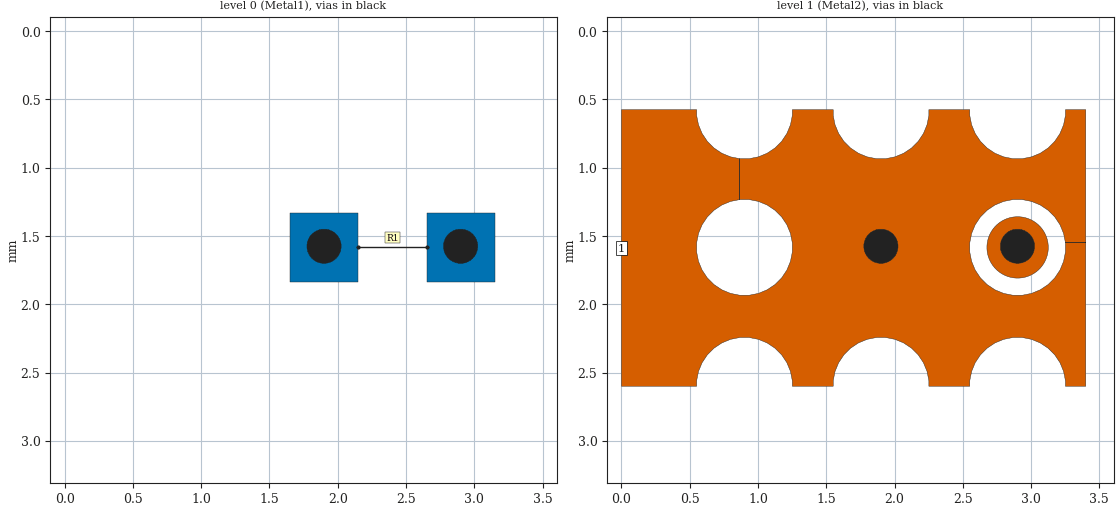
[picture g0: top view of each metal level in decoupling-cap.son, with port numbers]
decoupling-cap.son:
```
FTYP SONPROJ 17 ! Sonnet Project File
VER 17.52.2
HEADER
LIC antikernel2.1.48685 90e2ba8817c0 havequick azonenberg
DAT 07/22/2020 09:39:21
BUILT_BY_CREATED xgeom 16.56 07/03/2018 15:05:41
BUILT_BY_SAVED sonnet 17.52.2
MDATE 07/22/2020 09:39:21
HDATE 07/22/2020 09:39:21
ANN Created by dxfgeo, Sonnet Software Inc.
END HEADER
DIM
ANG DEG
CAP PF
CON /OH
FREQ GHZ
IND NH
LNG MM
RES OH
END DIM
CONTROL
VARSWP
OPTIONS  -dj
SPEED 1
CACHE_ABS 1
Q_ACC N
END CONTROL
GEO
TMET "Free Space" 0 FREESPACE 376.7303136 0 0 0
BMET "Copper 1oz" 1 NOR 58000000 0.5 35 
MET "Copper 1oz" 1 NOR 58000000 0.5 35 
BRI "Alumina (96%)" 0 9.4 0.0004 0 
BRI "Alumina (99.5%)" 0 9.9 0.0001 0 
BRI "Aluminum Nitride" 0 8.6 0.0003 0 
BRI "Arlon 25FR" 0 3.58 0.0035 0 
BRI "Arlon 25N" 0 3.38 0.0025 0 
BRI "Arlon AD5" 0 5.1 0.003 0 
BRI "Arlon AD10" 0 10.2 0.005 0 
BRI "Arlon AD250" 0 2.5 0.0018 0 
BRI "Arlon AD255A" 0 2.55 0.0015 0 
BRI "Arlon AD260A" 0 2.6 0.0018 0 
BRI "Arlon AD270" 0 2.7 0.0023 0 
BRI "Arlon AD300A" 0 3 0.002 0 
BRI "Arlon AD320A" 0 3.2 0.0032 0 
BRI "Arlon AD350A" 0 3.5 0.003 0 
BRI "Arlon AD410" 0 4.1 0.003 0 
BRI "Arlon AD430" 0 4.3 0.003 0 
BRI "Arlon AD450" 0 4.5 0.0035 0 
BRI "Arlon AD600" 0 6.15 0.003 0 
BRI "Arlon AD1000" 0 10.2 0.0023 0 
BRI "Arlon AR1000" 0 9.8 0.003 0 
BRI "Arlon CLTE" 0 2.96 0.0023 0 
BRI "Arlon CLTE-AT" 0 3 0.0013 0 
BRI "Arlon CLTE-P" 0 2.94 0.0025 0 
BRI "Arlon CLTE-XT" 0 2.94 0.0012 0 
BRI "Arlon Cu 217LX" 0 2.17 0.0009 0 
BRI "Arlon Cu 233LX" 0 2.33 0.0013 0 
BRI "Arlon Cu 250GT" 0 2.5 0.001 0 
BRI "Arlon Cu 250GX" 0 2.5 0.0018 0 
BRI "Arlon Cu 6250" 0 2.32 0.0013 0 
BRI "Arlon Cu 6700" 0 2.35 0.0025 0 
BRI "Arlon Di 522" 0 2.5 0.001 0 
BRI "Arlon Di 527" 0 2.5 0.0018 0 
BRI "Arlon Di 870" 0 2.33 0.0013 0 
BRI "Arlon Di 880" 0 2.17 0.0009 0 
BRI "Arlon Iso 917" 0 2.17 0.0013 0 
BRI "Arlon Iso 933" 0 2.33 0.0016 0 
BRI "Arlon Multi HF" 0 3.7 0.004 0 
BRI "Arlon TC350" 0 3.5 0.002 0 
BRI "Arlon TC600" 0 6.15 0.002 0 
BRI "Beryllia (99.5%)" 0 6.5 0.0004 0 
BRI "CEM-1" 0 4.5 0.02 0 
BRI "CEM-3" 0 4.5 0.02 0 
BRI "Dupont 9K7" 0 7.1 0.0012 0 
BRI "Dupont 943" 0 7.4 0.002 0 
BRI "Dupont 951" 0 7.8 0.006 0 
BRI "Dupont FEP" 0 2 0.0005 0 
BRI "Dupont Vacrel" 0 3.8 0.011 0 
BRI "ESL 41010" 0 7.5 0.005 0 
BRI "ESL 41020" 0 7.25 0.005 0 
BRI "ESL 41050" 0 13.5 0.002 0 
BRI "ESL 41060" 0 16.5 0.002 0 
BRI "ESL 41110" 0 4.5 0.004 0 
BRI "Ferro A6M" 0 5.9 0.002 0 
BRI "Ferro A6S" 0 5.9 0.002 0 
BRI "Ferro L8" 0 7.3 0.0018 0 
BRI "FR-4" 0 4.4 0.02 0 
BRI "G-10" 0 4.8 0.025 0 
BRI "Gallium Arsenide" 0 12.9 0.006 0 
BRI "Gallium Nitride" 0 9.7 0 0 
BRI "Glass (Pyrex)" 0 4.82 0.0054 0 
BRI "Heraeus HL2000" 0 7.3 0.0026 0 
BRI "Isola 370HR" 0 4.04 0.021 0 
BRI "Isola FR408" 0 3.77 0.0116 0 
BRI "Isola FR408HR" 0 3.68 0.0092 0 
BRI "Isola Getek" 0 3.6 0.01 0 
BRI "Isola GI-180" 0 3.7 0.013 0 
BRI "Isola IS415" 0 3.82 0.0125 0 
BRI "Isola IS620i" 0 3.58 0.006 0 
BRI "Isola IS680-280" 0 2.8 0.0025 0 
BRI "Isola IS680-300" 0 3 0.003 0 
BRI "Isola IS680-320" 0 3.2 0.003 0 
BRI "Isola IS680-333" 0 3.33 0.003 0 
BRI "Isola IS680-338" 0 3.38 0.0032 0 
BRI "Isola IS680-345" 0 3.45 0.0036 0 
BRI "Kerafol CT800" 0 5.3 0.008 0 
BRI "Nelco MW9350" 0 3.7 0.004 0 
BRI "Nelco N4000-12" 0 3.7 0.008 0 
BRI "Nelco N4000-13" 0 3.7 0.009 0 
BRI "Nelco N4000-13SI" 0 3.2 0.007 0 
BRI "Nelco N4000-13EP" 0 3.7 0.008 0 
BRI "Nelco N4350-13RF" 0 3.5 0.0065 0 
BRI "Nelco N4380-13RF" 0 3.8 0.007 0 
BRI "Nelco N9300-13RF" 0 3 0.004 0 
BRI "Nelco N9320-13RF" 0 3.2 0.0045 0 
BRI "Nelco N9338-13RF" 0 3.38 0.0046 0 
BRI "Nelco N9350-13RF" 0 3.48 0.0055 0 
BRI "Nelco NH9294" 0 2.94 0.0022 0 
BRI "Nelco NH9300" 0 3 0.0023 0 
BRI "Nelco NH9320" 0 3.2 0.0024 0 
BRI "Nelco NH9338" 0 3.38 0.0025 0 
BRI "Nelco NH9348" 0 3.48 0.003 0 
BRI "Nelco NH9350" 0 3.5 0.003 0 
BRI "Nelco NH9410" 0 4.1 0.003 0 
BRI "Nelco NH9450" 0 4.5 0.003 0 
BRI "Nelco NX9240" 0 2.4 0.0016 0 
BRI "Nelco NX9245" 0 2.45 0.0016 0 
BRI "Nelco NX9250" 0 2.5 0.0017 0 
BRI "Nelco NX9255" 0 2.55 0.0018 0 
BRI "Nelco NX9260" 0 2.6 0.0019 0 
BRI "Nelco NY9208" 0 2.08 0.0006 0 
BRI "Nelco NY9217" 0 2.17 0.0008 0 
BRI "Nelco NY9220" 0 2.2 0.0009 0 
BRI "Nelco NY9233" 0 2.33 0.0011 0 
BRI "PET" 0 3.37 0.0208 0 
BRI "Polyimide" 0 3.5 0.003 0 
BRI "Quartz (Fused)" 0 3.78 0.0001 0 
BRI "Rogers 3001" 0 2.28 0.003 0 
BRI "Rogers RO2808" 0 7.6 0.0015 0 
BRI "Rogers RO3003" 0 3 0.0013 0 
BRI "Rogers RO3006" 0 6.5 0.002 0 
BRI "Rogers RO3010" 0 11.2 0.0022 0 
BRI "Rogers RO3035" 0 3.6 0.0018 0 
BRI "Rogers RO3203" 0 3.02 0.0016 0 
BRI "Rogers RO3206" 0 6.6 0.0027 0 
BRI "Rogers RO3210" 0 10.8 0.0027 0 
BRI "Rogers RO3730" 0 3 0.0016 0 
BRI "Rogers RO4003C" 0 3.55 0.0029 0 
BRI "Rogers RO4533" 0 3.45 0.0029 0 
BRI "Rogers RO4534" 0 3.4 0.003 0 
BRI "Rogers RO4350B" 0 3.66 0.0037 0 
BRI "Rogers RO4350BTX" 0 3.66 0.0034 0 
BRI "Rogers RO4360" 0 6.15 0.0038 0 
BRI "Rogers RO4450B-3.6" 0 3.3 0.0043 0 
BRI "Rogers RO4450B-4" 0 3.54 0.004 0 
BRI "Rogers RO4450F" 0 3.52 0.0041 0 
BRI "Rogers RO4730" 0 3 0.0033 0 
BRI "Rogers RT5870" 0 2.33 0.0012 0 
BRI "Rogers RT5880" 0 2.2 0.0009 0 
BRI "Rogers RT5880LZ" 0 1.96 0.0019 0 
BRI "Rogers RT6002" 0 2.94 0.0012 0 
BRI "Rogers RT6006" 0 6.15 0.0027 0 
BRI "Rogers RT6010LM" 0 10.9 0.0023 0 
BRI "Rogers RT6035HTC" 0 3.6 0.0013 0 
BRI "Rogers RT6202" 0 2.94 0.0015 0 
BRI "Rogers RT6202PR" 0 2.95 0.0015 0 
BRI "Rogers Syron7000" 0 3.4 0.0045 0 
BRI "Rogers Syron7100-2" 0 3.61 0.006 0 
BRI "Rogers Syron7100-4" 0 3.39 0.005 0 
BRI "Rogers Theta" 0 4.01 0.0118 0 
BRI "Rogers TMM 3" 0 3.39 0.002 0 
BRI "Rogers TMM 4" 0 4.5 0.002 0 
BRI "Rogers TMM 6" 0 6 0.0023 0 
BRI "Rogers TMM 10" 0 9.56 0.0022 0 
BRI "Rogers TMM 10i" 0 9.96 0.002 0 
BRI "Rogers UL2000" 0 2.5 0.0019 0 
BRI "Rogers UL3850" 0 3.05 0.0025 0 
BRI "Rogers UL3908" 0 2.9 0.0025 0 
BRI "Rogers XT8000" 0 3.34 0.0035 0 
BRI "Rogers XT8100-2" 0 3.54 0.0049 0 
BRI "Rogers XT8100-4" 0 3.32 0.0038 0 
BRI "Silicon (intrinsic)" 0 11.9 0.004 0.00044 
BRI "Silicon Dioxide" 0 3.9 0 0 
BRI "Silicon Nitride" 0 7.5 0 0 
BRI "Taconic CER-10" 0 10 0.0035 0 
BRI "Taconic FastFilm" 0 2.7 0.0012 0 
BRI "Taconic Fastrise-DS" 0 2.96 0.0018 0 
BRI "Taconic Fastrise27" 0 2.7 0.0014 0 
BRI "Taconic Fastrise77" 0 7.7 0.0034 0 
BRI "Taconic FEP" 0 2 0.0003 0 
BRI "Taconic RF-30" 0 3 0.0014 0 
BRI "Taconic RF-35" 0 3.5 0.0018 0 
BRI "Taconic RF-35A2" 0 3.5 0.0011 0 
BRI "Taconic RF-35P" 0 3.5 0.0025 0 
BRI "Taconic RF-41" 0 4.1 0.0038 0 
BRI "Taconic RF-43" 0 4.3 0.0033 0 
BRI "Taconic RF-45" 0 4.5 0.0037 0 
BRI "Taconic RF-60A" 0 6.15 0.0038 0 
BRI "Taconic RF-301" 0 2.97 0.0012 0 
BRI "Taconic TacBond HT" 0 2.35 0.0025 0 
BRI "Taconic TLA-6" 0 2.62 0.0012 0 
BRI "Taconic TLC-27" 0 2.75 0.003 0 
BRI "Taconic TLC-30" 0 3 0.003 0 
BRI "Taconic TLC-32" 0 3.2 0.003 0 
BRI "Taconic TLE-95" 0 2.95 0.0028 0 
BRI "Taconic TLF-34" 0 3.4 0.002 0 
BRI "Taconic TLF-35" 0 3.5 0.002 0 
BRI "Taconic TLP-3" 0 2.33 0.0009 0 
BRI "Taconic TLP-5" 0 2.2 0.0009 0 
BRI "Taconic TLP-5A" 0 2.17 0.0009 0 
BRI "Taconic TLT-0" 0 2.45 0.0006 0 
BRI "Taconic TLT-9" 0 2.5 0.0006 0 
BRI "Taconic TLT-8" 0 2.55 0.0006 0 
BRI "Taconic TLT-7" 0 2.6 0.0006 0 
BRI "Taconic TLT-6" 0 2.65 0.0006 0 
BRI "Taconic TLX-0" 0 2.45 0.0019 0 
BRI "Taconic TLX-9" 0 2.5 0.0019 0 
BRI "Taconic TLX-8" 0 2.55 0.0019 0 
BRI "Taconic TLX-7" 0 2.6 0.0019 0 
BRI "Taconic TLX-6" 0 2.65 0.0019 0 
BRI "Taconic TLY-3" 0 2.33 0.0009 0 
BRI "Taconic TLY-3F" 0 2.33 0.0009 0 
BRI "Taconic TLY-5" 0 2.2 0.0009 0 
BRI "Taconic TLY-5-L" 0 2.2 0.0009 0 
BRI "Taconic TLY-5A" 0 2.17 0.0009 0 
BRI "Taconic TLY-5A-L" 0 2.17 0.0009 0 
BRI "Taconic TPG-30" 0 3 0.0038 0 
BRI "Taconic TPG-32" 0 3.2 0.005 0 
BRI "Taconic TPG-35" 0 3.5 0.005 0 
BRI "Taconic TRF-41" 0 4.1 0.0035 0 
BRI "Taconic TRF-43" 0 4.3 0.0035 0 
BRI "Taconic TRF-45" 0 4.5 0.0035 0 
BRI "Taconic TSM-DS" 0 2.85 0.001 0 
BRI "Taconic TSM-DS3" 0 3 0.0011 0 
BRI "Taconic TSM-26" 0 2.6 0.0014 0 
BRI "Taconic TSM-29" 0 2.94 0.0013 0 
BRI "Taconic TSM-30" 0 3 0.0013 0 
BRI "Teflon (PTFE)" 0 2.08 0.0004 0 
BOX 2 3.5 3.2 280 256 20 0
      1 1 1 0 0 0 0 "Air"
      0.1 3.66 1 0.0037 0 0 0 "Rogers RO4350B"
      0.424 3.66 1 0.0037 0 0 0 "Rogers RO4350B"
TECHLAY METAL Metal1 <UNSPECIFIED> -2 0 
0 0 0 N 0 1 1 100 100 0 0 0 Y
END
END
TECHLAY VIA Via2 <UNSPECIFIED> -5 0 
VIA POLYGON
0 0 -1 N 0 1 1 100 100 0 0 0 Y
TOLEVEL GND RING NOCOVERS
END
END
TECHLAY METAL Metal2 <UNSPECIFIED> -3 0 
1 0 -1 N 0 1 1 100 100 0 0 0 Y
END
END
TECHLAY VIA Via1 <UNSPECIFIED> -4 0 
VIA POLYGON
1 0 -1 N 0 1 1 100 100 0 0 0 Y
TOLEVEL 0 RING NOCOVERS
END
END
LORGN 0 5 U 
POR1 BOX
POLY 23433 1
128
1 50 0 0 0 -2.775557562e-17 1.5875 
SMD 0 "R1"
ID 23443
GNDREF AUTO
SBOX 2.276042942 2.525852207 1.545971295 1.620914075
PBSHW N
LPOS 2.400947575 1.545971295
TYPE IDEAL CAP 470000
SMDP 0 2.15113831 1.583442685 L 2 1 
EXSMDP
GNDREF AUTO
TERMW FEED
END EXSMDP
SMDP 0 2.65075684 1.583442685 R 3 2 
EXSMDP
GNDREF AUTO
TERMW FEED
END EXSMDP
END
NUM 6
0 5 0 N 23424 1 1 100 100 0 0 0 Y
TLAYNAM Metal1 INH
USER_DAT FromImport
2.65075684 1.83363342
2.65075684 1.33325195
3.15113831 1.33325195
3.15113831 1.83363342
2.65075684 1.83363342
END
0 5 0 N 23425 1 1 100 100 0 0 0 Y
TLAYNAM Metal1 INH
USER_DAT FromImport
1.65077209 1.83363342
1.65077209 1.33325195
2.15113831 1.33325195
2.15113831 1.83363342
1.65077209 1.83363342
END
VIA POLYGON
0 37 -1 N 23429 1 1 100 100 0 0 0 Y
TOLEVEL GND RING NOCOVERS
TLAYNAM Via2 INH
3.025 1.585936083
3.021201938 1.607475961
3.013721217 1.628029074
3.002785134 1.646970926
2.988725977 1.663725977
2.971970926 1.677785134
2.953029074 1.688721217
2.932475961 1.696201938
2.910936083 1.7
2.889063917 1.7
2.867524039 1.696201938
2.846970926 1.688721217
2.828029074 1.677785134
2.811274023 1.663725977
2.797214866 1.646970926
2.786278783 1.628029074
2.778798062 1.607475961
2.775 1.585936083
2.775 1.564063917
2.778798062 1.542524039
2.786278783 1.521970926
2.797214866 1.503029074
2.811274023 1.486274023
2.828029074 1.472214866
2.846970926 1.461278783
2.867524039 1.453798062
2.889063917 1.45
2.910936083 1.45
2.932475961 1.453798062
2.953029074 1.461278783
2.971970926 1.472214866
2.988725977 1.486274023
3.002785134 1.503029074
3.013721217 1.521970926
3.021201938 1.542524039
3.025 1.564063917
3.025 1.585936083
END
1 65 -1 N 23432 1 1 100 100 0 0 0 Y
TLAYNAM Metal2 INH
USER_DAT FromImport
2.8899231 1.80796814
2.8679657 1.80580139
2.84632874 1.80149841
2.82522583 1.79508972
2.80484009 1.78665161
2.78538513 1.77626037
2.76704407 1.76399231
2.75 1.75
2.73439026 1.73440551
2.72039795 1.71734619
2.70814514 1.69900512
2.69773865 1.67955017
2.68930054 1.65917968
2.6829071 1.63806152
2.67858887 1.61642456
2.67643738 1.59446716
2.67643738 1.57241821
2.67858887 1.55046081
2.6829071 1.52882385
2.68930054 1.50772094
2.69773865 1.4873352
2.70814514 1.46788025
2.72039795 1.44953918
2.73439026 1.43247986
2.75 1.41688537
2.76704407 1.40289306
2.78538513 1.39064026
2.80484009 1.38023376
2.82522583 1.37179565
2.84632874 1.36538696
2.8679657 1.36108398
2.8899231 1.35893249
2.9119873 1.35893249
2.9339447 1.36108398
2.95556641 1.36538696
2.97668457 1.37179565
2.99707031 1.38023376
3.01652527 1.39064026
3.03486633 1.40289306
3.0519104 1.41688537
3.06750488 1.43247986
3.08151245 1.44953918
3.09376526 1.46788025
3.10415649 1.4873352
3.11260986 1.50772094
3.1190033 1.52882385
3.12330627 1.55046081
3.12547302 1.57241821
3.12547302 1.59446716
3.12330627 1.61642456
3.1190033 1.63806152
3.11260986 1.65917968
3.10415649 1.67955017
3.09376526 1.69900512
3.08151245 1.71734619
3.06750488 1.73440551
3.0519104 1.75
3.03486633 1.76399231
3.01652527 1.77626037
2.99707031 1.78665161
2.97668457 1.79508972
2.95556641 1.80149841
2.9339447 1.80580139
2.9119873 1.80796814
2.8899231 1.80796814
END
1 195 -1 N 23433 1 1 100 100 0 0 0 Y
TLAYNAM Metal2 INH
3.4 2.558930389
3.4 1.548990596
3.2512207 1.548990596
3.2512207 1.617922097
3.237747922 1.685647822
3.211354297 1.749373197
3.17299183 1.806790271
3.124264449 1.85551766
3.066895994 1.893847648
3.003155803 1.920242427
2.935426987 1.93371582
2.866497075 1.93371582
2.798753137 1.920241819
2.735052446 1.8938634
2.677679701 1.855534545
2.628855472 1.806698246
2.590542468 1.749373227
2.564134589 1.685584339
2.5506897 1.617998807
2.5506897 1.548913859
2.564141989 1.481267041
2.590536501 1.417551583
2.628855469 1.360217646
2.677666678 1.31139437
2.735015642 1.27303721
2.79876576 1.246638324
2.866418739 1.23318481
2.935503697 1.23318481
3.003155803 1.246642943
3.066849563 1.273018495
3.124244355 1.311378136
3.173022553 1.360156342
3.21133942 1.417505165
3.23775315 1.481267036
3.2512207 1.548990596
3.4 1.548990596
3.4 1.548990596
3.4 0.575
3.2512207 0.575
3.2512207 0.617922097
3.237747922 0.6856478219
3.211337669 0.7494133444
3.173022553 0.8067595477
3.124264449 0.8555176595
3.066895994 0.8938476479
3.003155803 0.9202424274
2.935426987 0.93371582
2.866497075 0.93371582
2.798753137 0.9202418191
2.735052446 0.8938634002
2.677679701 0.8555345453
2.628855472 0.8066982459
2.590542468 0.7493732266
2.564134589 0.6855843387
2.5506897 0.6179988068
2.5506897 0.575
2.2512207 0.575
2.2512207 0.6179301392
2.237774187 0.6855844078
2.21133504 0.7494196923
2.173070114 0.8067087871
2.124199154 0.8555556256
2.066857955 0.8938634002
2.003155803 0.9202424274
1.935426987 0.93371582
1.866483413 0.93371582
1.798754615 0.9202424309
1.735052446 0.8938634002
1.677711228 0.8555556075
1.628840286 0.8067087871
1.59057536 0.7494196923
1.564136213 0.6855844078
1.5506897 0.6179301392
1.5506897 0.575
1.2512207 0.575
1.2512207 0.6179988068
1.237775811 0.6855843387
1.211370958 0.7493659166
1.173070114 0.8067087871
1.124199154 0.8555556256
1.066857955 0.8938634002
1.00315728 0.9202418157
0.9354133254 0.93371582
0.8664067032 0.93371582
0.8664067032 1.23318481
0.9354900489 1.23318481
1.00315728 1.246643554
1.066858904 1.273022363
1.124215395 1.311376497
1.173070114 1.360207103
1.211376947 1.417558939
1.237768411 1.481267041
1.2512207 1.548913859
1.2512207 1.617998807
1.237775811 1.685584339
1.211387575 1.749325779
1.173039451 1.806739435
1.124199154 1.855555626
1.066857955 1.8938634
1.00315728 1.920241816
0.9354133254 1.93371582
0.866483413 1.93371582
0.7987546145 1.920242431
0.7350144039 1.893847647
0.6776459776 1.855517678
0.6289185674 1.806790267
0.5905561026 1.749373197
0.5641624777 1.685647822
0.5506897 1.617922097
0.5506897 1.548990596
0.5641572498 1.481267036
0.5905709804 1.417505165
0.6288878446 1.360156345
0.6776660717 1.311378118
0.7350608354 1.273018496
0.7987546145 1.246642939
0.8664067032 1.23318481
0.8664067032 0.93371582
0.8664067032 0.93371582
0.8664067032 0.93370056
0.7987546145 0.9202424309
0.7350144039 0.8938476468
0.6776459776 0.8555176776
0.6288878446 0.8067595446
0.5905727307 0.7494133444
0.5641624777 0.6856478219
0.5506897 0.617922097
0.5506897 0.575
-2.775557562e-17 0.575
-2.775557562e-17 2.6
0.5506897 2.6
0.5506897 2.558973033
0.5641624743 2.491247325
0.5905727307 2.427481787
0.6288878424 2.370135598
0.6776459776 2.321377462
0.7350144039 2.283047493
0.7987546145 2.256652709
0.866483413 2.24317932
0.9354133254 2.24317932
1.00315728 2.256653324
1.066857955 2.28303174
1.124199154 2.321339514
1.173070117 2.370186355
1.211370958 2.427529214
1.237775815 2.491310809
1.2512207 2.558896323
1.2512207 2.6
1.5506897 2.6
1.5506897 2.558896323
1.564133111 2.491318221
1.59057536 2.427475439
1.628840283 2.370186355
1.677711228 2.321339532
1.735052446 2.28303174
1.798754615 2.256652709
1.866483413 2.24317932
1.935426987 2.24317932
2.003155803 2.256652713
2.066857955 2.28303174
2.124199154 2.321339514
2.173070117 2.370186355
2.21133504 2.427475439
2.23777419 2.491310739
2.2512207 2.558964991
2.2512207 2.6
2.5506897 2.6
2.5506897 2.558896323
2.564134585 2.491310809
2.590542468 2.427521904
2.628855469 2.370196896
2.677679701 2.321360595
2.735052446 2.28303174
2.79876576 2.256648094
2.866495476 2.24317932
2.935426987 2.24317932
3.003155803 2.256652713
3.066895994 2.283047492
3.124264449 2.32137748
3.173022555 2.370135594
3.211337669 2.427481787
3.237751765 2.491256595
3.24982137 2.55186114
3.249824353 2.55186114
3.24983215 2.55194091
3.249829167 2.55194091
3.24983215 2.55197143
3.249838213 2.55197143
3.251029537 2.55796814
3.25102234 2.55796814
3.251042921 2.558035513
3.2512207 2.558930389
3.2512207 2.6
3.4 2.6
3.4 2.558930389
END
VIA POLYGON
1 37 -1 N 23437 1 1 100 100 0 0 0 Y
TOLEVEL 0 RING NOCOVERS
TLAYNAM Via1 INH
2.025 1.585936083
2.021201938 1.607475961
2.013721217 1.628029074
2.002785134 1.646970926
1.988725977 1.663725977
1.971970926 1.677785134
1.953029074 1.688721217
1.932475961 1.696201938
1.910936083 1.7
1.889063917 1.7
1.867524039 1.696201938
1.846970926 1.688721217
1.828029074 1.677785134
1.811274023 1.663725977
1.797214866 1.646970926
1.786278783 1.628029074
1.778798062 1.607475961
1.775 1.585936083
1.775 1.564063917
1.778798062 1.542524039
1.786278783 1.521970926
1.797214866 1.503029074
1.811274023 1.486274023
1.828029074 1.472214866
1.846970926 1.461278783
1.867524039 1.453798062
1.889063917 1.45
1.910936083 1.45
1.932475961 1.453798062
1.953029074 1.461278783
1.971970926 1.472214866
1.988725977 1.486274023
2.002785134 1.503029074
2.013721217 1.521970926
2.021201938 1.542524039
2.025 1.564063917
2.025 1.585936083
END
END GEO
OPT
MAX 100
END OPT
VARSWP
SWPVARS ON
ENABLED Y
FREQ Y AY ABS_ENTRY 0.1 20.0 -1 300 
END
END VARSWP
```
